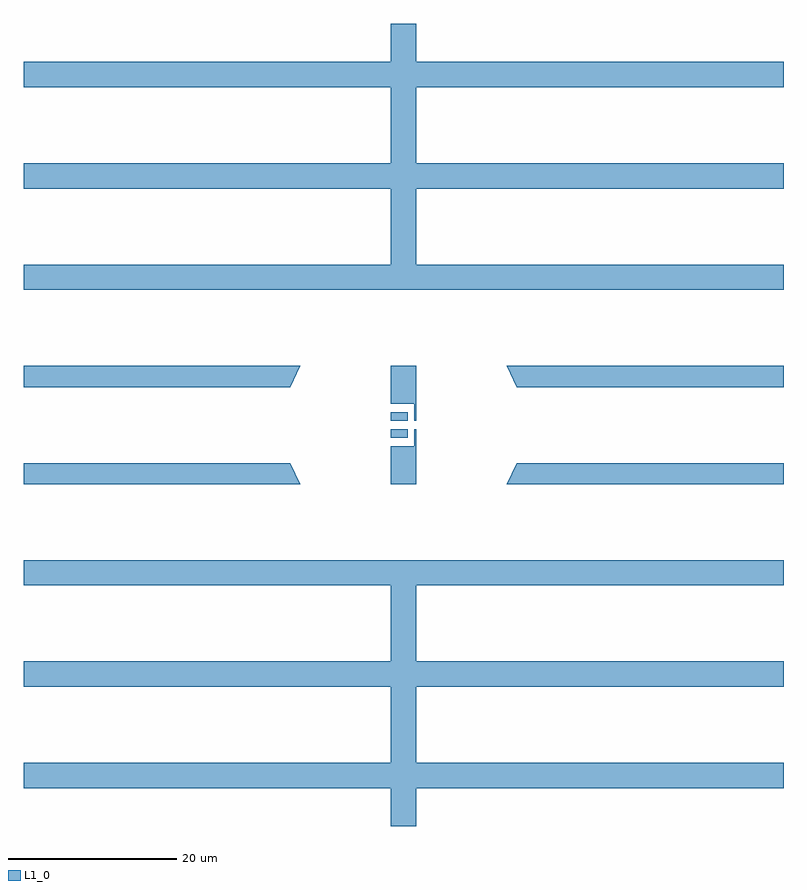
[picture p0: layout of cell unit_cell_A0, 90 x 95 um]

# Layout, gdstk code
from math import pi, radians
import gdstk
lib = gdstk.Library(unit=1e-6, precision=1e-09)
def R(c, l, rs):  # rectangles x0, y0, x1, y1
    for r in rs: c.add(gdstk.rectangle(r[:2], r[2:], *l))
def P(c, l, *ps):  # polygons
    for p in ps: c.add(gdstk.Polygon(p, *l))
L1_0 = (1, 0)

unnamed_2410 = lib.new_cell('Unnamed_2410')
R(unnamed_2410, L1_0, [(43.5,40.5,45,45)])
P(unnamed_2410, L1_0, [(43.5,0),(43.5,4.5),(0,4.5),(0,7.5),(43.5,7.5),(43.5,16.5),(0,16.5),(0,19.5),(43.5,19.5),(43.5,28.5),(0,28.5),(0,31.5),(45,31.5),(45,0)],
  [(0,40.5),(0,43),(31.597,43),(32.773,40.5)])

unnamed_2411 = lib.new_cell('Unnamed_2411')
unnamed_2411.add(gdstk.Reference(unnamed_2410, (0,0)))

rectangle_s2_1_lwg_cfal_ = lib.new_cell('rectangle_S2_1_LWG_CFal_a0a9c26d')
R(rectangle_s2_1_lwg_cfal_, L1_0, [(0,0,2,1)])

rectangle_s0p2_2_lwg_cf_ = lib.new_cell('rectangle_S0p2_2_LWG_CF_9ef6d549')
R(rectangle_s0p2_2_lwg_cf_, L1_0, [(0,0,0.2,2)])

unnamed_2412 = lib.new_cell('Unnamed_2412')
unnamed_2412.add(gdstk.Reference(rectangle_s2_1_lwg_cfal_, (0,-1.5)))
unnamed_2412.add(gdstk.Reference(rectangle_s0p2_2_lwg_cf_, (2.8,-2.5)))

unit_cell_a0 = lib.new_cell('unit_cell_A0')
unit_cell_a0.add(gdstk.Reference(unnamed_2411, (0,0)))
unit_cell_a0.add(gdstk.Reference(unnamed_2411, (90,0), rotation=pi, x_reflection=True))
unit_cell_a0.add(gdstk.Reference(unnamed_2411, (0,95), x_reflection=True))
unit_cell_a0.add(gdstk.Reference(unnamed_2411, (90,95), rotation=pi))
unit_cell_a0.add(gdstk.Reference(unnamed_2412, (43.5,47.5)))
unit_cell_a0.add(gdstk.Reference(unnamed_2412, (43.5,47.5), x_reflection=True))

lib.write_gds('unit_cell_A0.gds')
